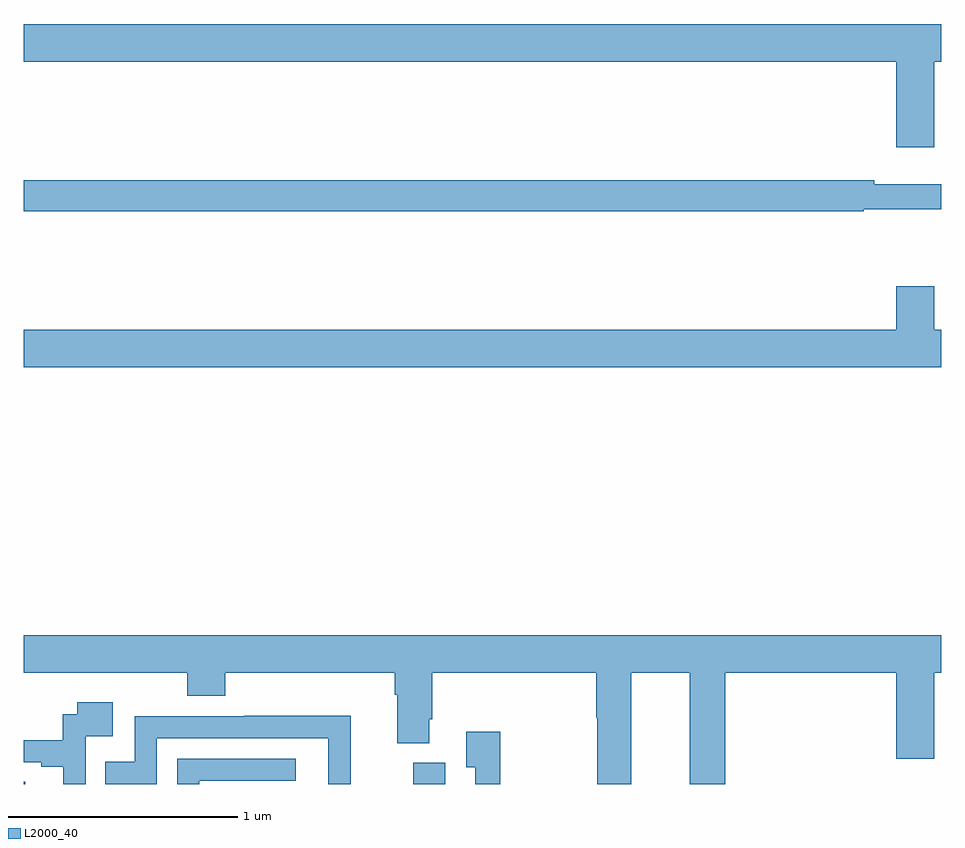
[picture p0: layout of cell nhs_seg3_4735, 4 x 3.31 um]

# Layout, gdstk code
import gdstk
lib = gdstk.Library(unit=1e-6, precision=1e-09)
def R(c, l, rs):  # rectangles x0, y0, x1, y1
    for r in rs: c.add(gdstk.rectangle(r[:2], r[2:], *l))
def P(c, l, *ps):  # polygons
    for p in ps: c.add(gdstk.Polygon(p, *l))
L2000_40 = (2000, 40)

nhs_seg3_4735 = lib.new_cell('nhs_seg3_4735')
R(nhs_seg3_4735, L2000_40, [(365,732.4,365.008,732.41), (366.698,732.4,366.838,732.492)])
P(nhs_seg3_4735, L2000_40, [(368.968,735.548),(369,735.548),(369,735.712),(365,735.712),(365,735.548),(368.804,735.548),(368.804,735.174),(368.968,735.174)],
  [(368.662,734.904),(369,734.904),(369,735.013),(368.708,735.013),(368.708,735.032),(365,735.032),(365,734.896),(368.662,734.896)],
  [(369,734.38),(368.968,734.38),(368.968,734.569),(368.804,734.569),(368.804,734.38),(365,734.38),(365,734.216),(369,734.216)],
  [(365,732.884),(365.714,732.884),(365.714,732.785),(365.879,732.785),(365.879,732.884),(366.617,732.884),(366.617,732.788),(366.629,732.788),(366.629,732.577),(366.769,732.577),(366.769,732.682),(366.782,732.682),(366.782,732.884),(367.496,732.884),(367.496,732.688),(367.501,732.688),(367.501,732.4),(367.648,732.4),(367.648,732.884),(367.904,732.884),(367.904,732.4),(368.057,732.4),(368.057,732.884),(368.804,732.884),(368.804,732.51),(368.968,732.51),(368.968,732.884),(369,732.884),(369,733.048),(365,733.048)],
  [(365.271,732.609),(365.389,732.609),(365.389,732.757),(365.233,732.757),(365.233,732.705),(365.17,732.705),(365.17,732.591),(365,732.591),(365,732.495),(365.078,732.495),(365.078,732.475),(365.174,732.475),(365.174,732.4),(365.271,732.4)],
  [(365.58,732.6),(366.327,732.6),(366.327,732.4),(366.425,732.4),(366.425,732.698),(365.962,732.698),(365.962,732.696),(365.484,732.696),(365.484,732.498),(365.356,732.498),(365.356,732.4),(365.58,732.4)],
  [(367.078,732.628),(366.929,732.628),(366.929,732.472),(366.969,732.472),(366.969,732.4),(367.078,732.4)],
  [(365.766,732.414),(366.187,732.414),(366.187,732.51),(365.67,732.51),(365.67,732.4),(365.766,732.4)])

lib.write_gds('nhs_seg3_4735.gds')
